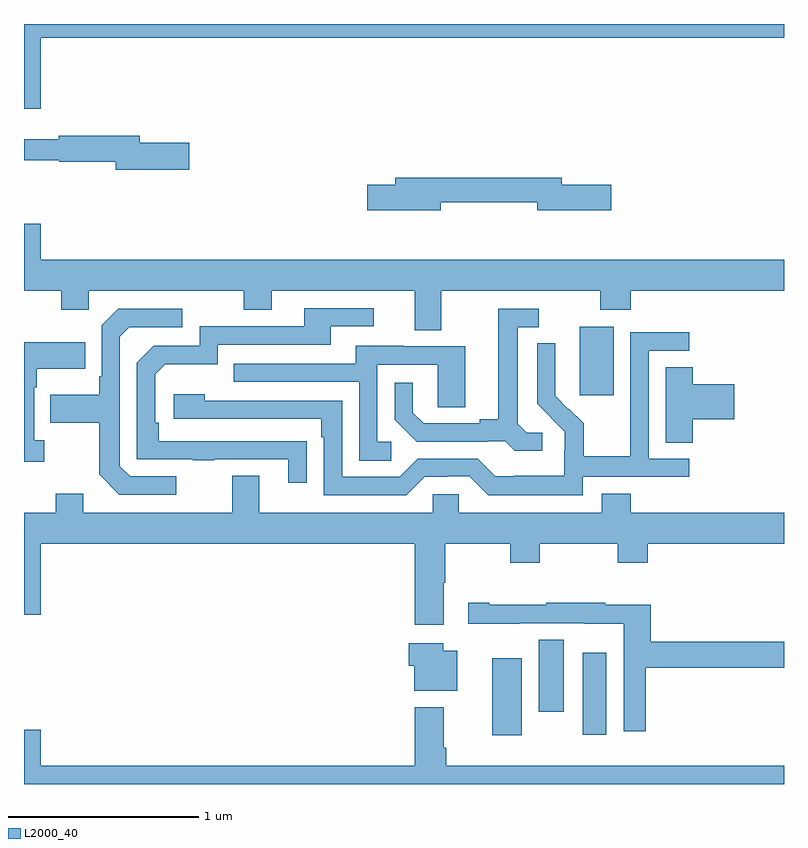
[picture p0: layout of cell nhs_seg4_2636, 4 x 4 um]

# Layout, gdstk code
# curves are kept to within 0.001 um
import gdstk
lib = gdstk.Library(unit=1e-6, precision=1e-09)
def R(c, l, rs):  # rectangles x0, y0, x1, y1
    for r in rs: c.add(gdstk.rectangle(r[:2], r[2:], *l))
def P(c, l, *ps):  # polygons
    for p in ps: c.add(gdstk.Polygon(p, *l))
L2000_40 = (2000, 40)

nhs_seg4_2636 = lib.new_cell('nhs_seg4_2636')
R(nhs_seg4_2636, L2000_40, [(251.465,785.157,251.62,785.563), (251.942,785.16,252.064,785.59), (251.708,785.28,251.842,785.66), (251.924,786.945,252.103,787.306)])
P(nhs_seg4_2636, L2000_40, [(249.088,788.828),(253,788.828),(253,788.9),(249,788.9),(249,788.454),(249.088,788.454)],
  [(249.871,788.276),(249.61,788.276),(249.61,788.312),(249.184,788.312),(249.184,788.293),(249,788.293),(249,788.184),(249.186,788.184),(249.186,788.176),(249.482,788.176),(249.482,788.134),(249.871,788.134)],
  [(251.194,787.962),(251.702,787.962),(251.702,787.919),(252.091,787.919),(252.091,788.054),(251.83,788.054),(251.83,788.09),(250.955,788.09),(250.955,788.054),(250.806,788.054),(250.806,787.919),(251.194,787.919)],
  [(251.197,787.496),(252.034,787.496),(252.034,787.397),(252.194,787.397),(252.194,787.496),(253,787.496),(253,787.66),(249.088,787.66),(249.088,787.849),(249,787.849),(249,787.496),(249.196,787.496),(249.196,787.397),(249.342,787.397),(249.342,787.496),(250.156,787.496),(250.156,787.397),(250.303,787.397),(250.303,787.496),(251.057,787.496),(251.057,787.288),(251.197,787.288)],
  [(250.487,786.704),(249.71,786.705),(249.71,786.802),(249.69,786.802),(249.69,787.056),(249.743,787.109),(250.02,787.109),(250.02,787.212),(250.615,787.212),(250.615,787.308),(250.84,787.308),(250.84,787.404),(250.475,787.404),(250.475,787.308),(249.924,787.308),(249.924,787.206),(249.684,787.206),(249.594,787.116),(249.594,786.609),(249.889,786.609),(249.889,786.604),(250.001,786.604),(250.001,786.609),(250.391,786.609),(250.391,786.486),(250.487,786.486)],
  [(249.802,786.519),(249.558,786.519),(249.504,786.573),(249.504,787.254),(249.555,787.305),(249.832,787.305),(249.832,787.401),(249.495,787.401),(249.408,787.314),(249.408,787.045),(249.396,787.045),(249.396,786.949),(249.139,786.949),(249.139,786.802),(249.396,786.802),(249.396,786.529),(249.501,786.423),(249.802,786.423)],
  [(251.728,786.75),(251.646,786.75),(251.599,786.797),(251.599,787.305),(251.71,787.305),(251.71,787.401),(251.495,787.401),(251.495,786.821),(251.399,786.821),(251.399,786.798),(251.104,786.798),(251.047,786.855),(251.047,787.012),(250.95,787.012),(250.95,786.818),(251.066,786.702),(251.438,786.702),(251.438,786.705),(251.532,786.705),(251.584,786.653),(251.728,786.653)],
  [(251.94,786.516),(252.502,786.516),(252.502,786.612),(252.288,786.612),(252.288,787.179),(252.502,787.179),(252.502,787.278),(252.192,787.278),(252.192,786.848),(252.19,786.848),(252.19,786.625),(251.945,786.625),(251.945,786.799),(251.868,786.876),(251.865,786.873),(251.795,786.944),(251.796,787.22),(251.7,787.22),(251.7,786.902),(251.846,786.754),(251.846,786.657),(251.844,786.657),(251.844,786.523),(251.581,786.523),(251.581,786.519),(251.481,786.519),(251.388,786.612),(251.073,786.612),(250.977,786.516),(250.674,786.516),(250.674,786.918),(249.95,786.918),(249.95,786.952),(249.789,786.952),(249.789,786.822),(250.565,786.822),(250.565,786.725),(250.578,786.725),(250.578,786.42),(251.013,786.42),(251.109,786.516),(251.228,786.516),(251.228,786.519),(251.343,786.519),(251.443,786.419),(251.94,786.419)],
  [(249.106,786.71),(249.054,786.71),(249.054,786.989),(249.067,786.989),(249.067,787.085),(249.323,787.085),(249.323,787.225),(249,787.225),(249,786.597),(249.106,786.597)],
  [(250.933,786.702),(250.86,786.702),(250.86,787.107),(251.178,787.107),(251.178,786.883),(251.323,786.883),(251.323,787.203),(250.999,787.203),(250.999,787.207),(250.745,787.207),(250.745,787.113),(250.105,787.113),(250.105,787.017),(250.764,787.017),(250.764,786.601),(250.933,786.601)],
  [(252.521,786.821),(252.739,786.821),(252.739,787.004),(252.521,787.004),(252.521,787.094),(252.377,787.094),(252.377,786.697),(252.521,786.697)],
  [(251.209,785.96),(251.217,785.96),(251.217,786.164),(251.56,786.164),(251.56,786.065),(251.715,786.065),(251.715,786.164),(252.124,786.164),(252.124,786.065),(252.284,786.065),(252.284,786.164),(253,786.164),(253,786.328),(252.194,786.328),(252.194,786.427),(252.041,786.427),(252.041,786.328),(251.289,786.328),(251.289,786.426),(251.151,786.426),(251.151,786.328),(250.237,786.328),(250.237,786.523),(250.097,786.523),(250.097,786.328),(249.313,786.328),(249.313,786.427),(249.166,786.427),(249.166,786.328),(249,786.328),(249,785.79),(249.088,785.79),(249.088,786.164),(251.057,786.164),(251.057,785.739),(251.209,785.739)],
  [(252.272,785.512),(253,785.512),(253,785.648),(252.299,785.648),(252.299,785.844),(252.059,785.844),(252.059,785.854),(251.749,785.854),(251.749,785.844),(251.449,785.844),(251.449,785.854),(251.337,785.854),(251.337,785.744),(251.612,785.744),(251.612,785.745),(251.946,785.745),(251.946,785.744),(252.156,785.744),(252.156,785.178),(252.272,785.178)],
  [(251.281,785.602),(251.207,785.602),(251.207,785.641),(251.024,785.641),(251.024,785.523),(251.054,785.523),(251.054,785.39),(251.281,785.39)],
  [(253,784.996),(251.222,784.996),(251.222,785.092),(251.209,785.092),(251.209,785.305),(251.057,785.305),(251.057,784.996),(249.088,784.996),(249.088,785.185),(249,785.185),(249,784.9),(253,784.9)])

lib.write_gds('nhs_seg4_2636.gds')
